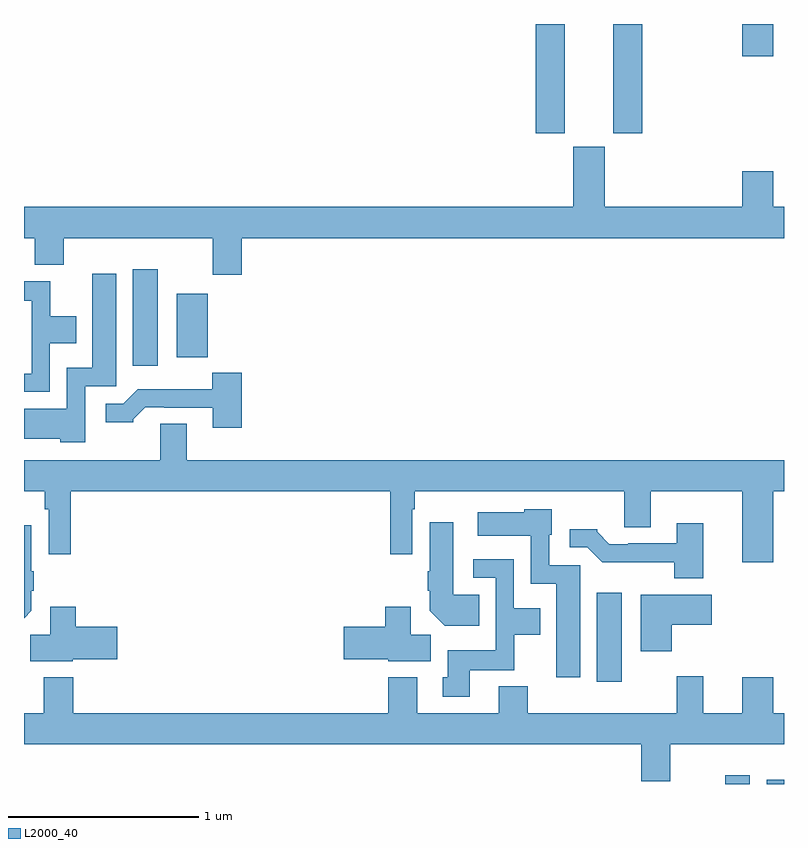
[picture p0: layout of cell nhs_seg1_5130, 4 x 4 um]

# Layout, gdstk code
import gdstk
lib = gdstk.Library(unit=1e-6, precision=1e-09)
def R(c, l, rs):  # rectangles x0, y0, x1, y1
    for r in rs: c.add(gdstk.rectangle(r[:2], r[2:], *l))
def P(c, l, *ps):  # polygons
    for p in ps: c.add(gdstk.Polygon(p, *l))
L2000_40 = (2000, 40)

nhs_seg1_5130 = lib.new_cell('nhs_seg1_5130')
R(nhs_seg1_5130, L2000_40, [(392.69,542.199,392.821,542.245), (392.909,542.199,393,542.221), (392.015,542.736,392.146,543.205), (389.573,544.401,389.704,544.909), (391.694,545.625,391.846,546.199), (392.102,545.625,392.255,546.199), (392.78,546.03,392.944,546.199)])
P(nhs_seg1_5130, L2000_40, [(390.146,545.072),(393,545.072),(393,545.236),(392.944,545.236),(392.944,545.425),(392.78,545.425),(392.78,545.236),(392.056,545.236),(392.056,545.553),(391.892,545.553),(391.892,545.236),(389,545.236),(389,545.072),(389.057,545.072),(389.057,544.931),(389.21,544.931),(389.21,545.072),(389.993,545.072),(389.993,544.878),(390.146,544.878)],
  [(389.322,544.293),(389.485,544.293),(389.485,544.885),(389.36,544.885),(389.36,544.39),(389.226,544.39),(389.226,544.174),(389,544.174),(389,544.016),(389.19,544.016),(389.19,543.998),(389.322,543.998)],
  [(389.136,544.52),(389.275,544.52),(389.275,544.66),(389.139,544.66),(389.139,544.846),(389,544.846),(389,544.742),(389.04,544.742),(389.04,544.359),(389,544.359),(389,544.263),(389.136,544.263)],
  [(389.966,544.552),(389.968,544.552),(389.968,544.78),(389.804,544.78),(389.804,544.445),(389.966,544.445)],
  [(390.146,544.363),(389.991,544.363),(389.991,544.276),(389.599,544.276),(389.523,544.2),(389.43,544.2),(389.43,544.103),(389.574,544.103),(389.574,544.118),(389.638,544.182),(389.737,544.182),(389.737,544.179),(389.993,544.179),(389.993,544.074),(390.146,544.074)],
  [(392.944,543.74),(393,543.74),(393,543.904),(389.857,543.904),(389.857,544.094),(389.717,544.094),(389.717,543.904),(389,543.904),(389,543.74),(389.11,543.74),(389.11,543.644),(389.13,543.644),(389.13,543.408),(389.246,543.408),(389.246,543.74),(390.928,543.74),(390.928,543.408),(391.044,543.408),(391.044,543.644),(391.057,543.644),(391.057,543.74),(392.159,543.74),(392.159,543.55),(392.299,543.55),(392.299,543.74),(392.78,543.74),(392.78,543.366),(392.944,543.366)],
  [(391.927,543.351),(391.764,543.351),(391.764,543.51),(391.777,543.51),(391.777,543.646),(391.632,543.646),(391.632,543.628),(391.389,543.628),(391.389,543.506),(391.668,543.506),(391.668,543.254),(391.802,543.254),(391.802,542.76),(391.927,542.76)],
  [(391.397,543.196),(391.258,543.196),(391.258,543.577),(391.136,543.577),(391.136,543.32),(391.124,543.32),(391.124,543.217),(391.136,543.217),(391.136,543.11),(391.214,543.032),(391.397,543.032)],
  [(392.575,543.571),(392.435,543.571),(392.435,543.465),(392.179,543.465),(392.179,543.462),(392.08,543.462),(392.016,543.526),(392.016,543.541),(391.872,543.541),(391.872,543.444),(391.965,543.444),(392.044,543.366),(392.423,543.366),(392.423,543.281),(392.575,543.281)],
  [(389.038,543.11),(389.038,543.217),(389.051,543.217),(389.051,543.32),(389.038,543.32),(389.038,543.562),(389,543.562),(389,543.072)],
  [(391.345,542.798),(391.581,542.798),(391.581,542.984),(391.717,542.984),(391.717,543.124),(391.578,543.124),(391.578,543.381),(391.365,543.381),(391.365,543.285),(391.482,543.285),(391.482,542.902),(391.229,542.902),(391.229,542.76),(391.205,542.76),(391.205,542.658),(391.345,542.658)],
  [(392.41,543.038),(392.62,543.038),(392.62,543.196),(392.246,543.196),(392.246,542.898),(392.41,542.898)],
  [(389.256,542.855),(389.491,542.855),(389.491,543.026),(389.273,543.026),(389.273,543.133),(389.138,543.133),(389.138,542.984),(389.033,542.984),(389.033,542.846),(389.256,542.846)],
  [(391.141,542.984),(391.036,542.984),(391.036,543.133),(390.902,543.133),(390.902,543.026),(390.684,543.026),(390.684,542.855),(390.918,542.855),(390.918,542.846),(391.141,542.846)],
  [(391.499,542.713),(391.499,542.572),(391.069,542.572),(391.069,542.761),(390.917,542.761),(390.917,542.572),(389.258,542.572),(389.258,542.761),(389.105,542.761),(389.105,542.572),(389,542.572),(389,542.408),(392.249,542.408),(392.249,542.214),(392.401,542.214),(392.401,542.408),(393,542.408),(393,542.572),(392.944,542.572),(392.944,542.761),(392.78,542.761),(392.78,542.572),(392.575,542.572),(392.575,542.767),(392.435,542.767),(392.435,542.572),(391.652,542.572),(391.652,542.713)])

lib.write_gds('nhs_seg1_5130.gds')
